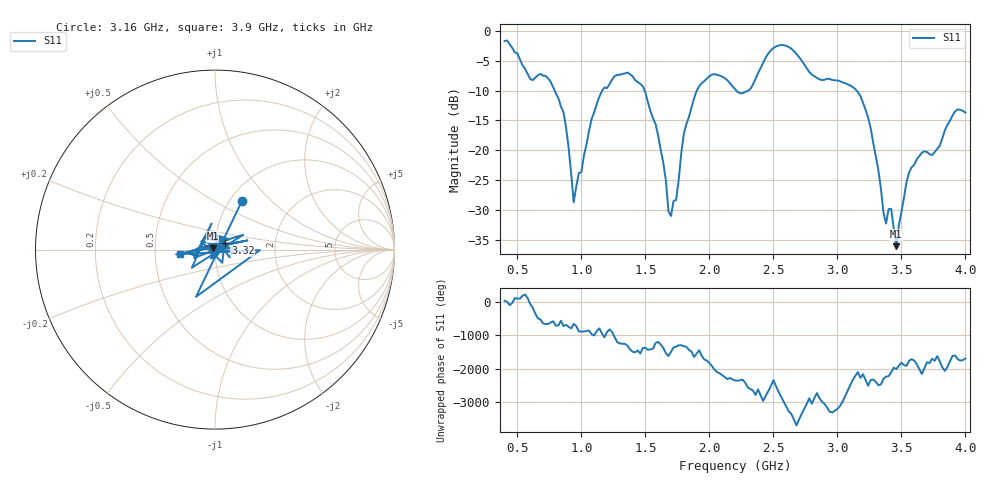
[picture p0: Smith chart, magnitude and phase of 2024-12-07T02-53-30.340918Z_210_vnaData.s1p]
!Created with skrf (http://scikit-rf.org).
# Hz S RI R 50.0
!freq ReS11 ImS11
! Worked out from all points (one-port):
!   181 points, 400 MHz to 4 GHz, reference 50 ohm
!   lowest |S11| = -36.0 dB at 3.46 GHz (marker M1), VSWR 1.03, Z = 48.6 + j0.728 ohm
!   |S11| at or under -10 dB: 790.7 MHz to 1.163 GHz (372.4 MHz wide, 38.1 % of centre); 1.494 GHz to 1.902 GHz (408.2 MHz wide, 24 % of centre); 3.15 GHz to end of sweep (the widest 3 of 4)
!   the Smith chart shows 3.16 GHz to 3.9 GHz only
!   S11 on the Smith chart (normalised r, x): 3.16 GHz: 1.14, +0.67; 3.32 GHz: 1.12, +0.08; 3.9 GHz: 0.67, -0.04
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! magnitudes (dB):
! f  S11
! 400 MHz  -1.7
! 600 MHz  -8.1
! 740 MHz  -8.0
! 860 MHz  -13.6
! 940 MHz  -28.7
! 1.12 GHz  -12.2
! 1.3 GHz  -7.4
! 1.5 GHz  -10.3
! 1.6 GHz  -17.6
! 1.7 GHz  -31.0
! 1.76 GHz  -24.9
! 1.8 GHz  -17.3
! 1.92 GHz  -9.3
! 2.2 GHz  -9.8
! 2.32 GHz  -9.7
! 2.5 GHz  -2.9
! 2.66 GHz  -3.4
! 3.1 GHz  -9.2
! 3.16 GHz  -10.3
! 3.24 GHz  -14.5
! 3.32 GHz  -23.4
! 3.38 GHz  -32.3
! 3.42 GHz  -29.8
! 3.46 GHz  -36.0
! 3.56 GHz  -23.7
! 3.8 GHz  -19.2
! 3.9 GHz  -14.2
! 4 GHz  -13.7
